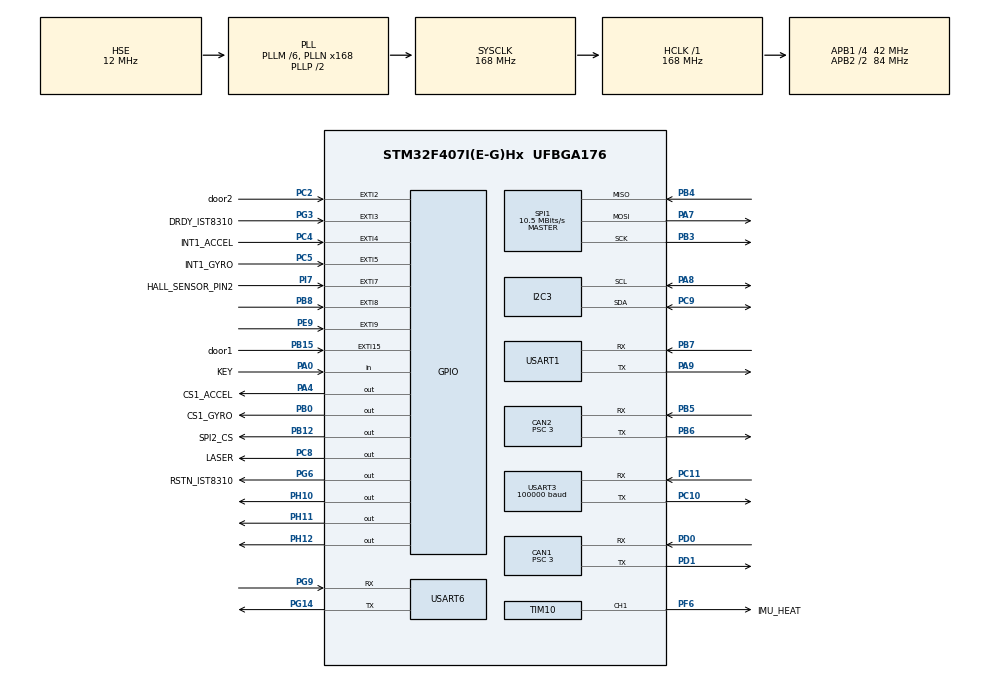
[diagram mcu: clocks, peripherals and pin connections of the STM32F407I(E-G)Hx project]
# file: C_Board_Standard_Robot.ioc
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CAN1.BS1=CAN_BS1_10TQ
CAN1.BS2=CAN_BS2_3TQ
CAN1.CalculateBaudRate=1000000
CAN1.CalculateTimeBit=1000
CAN1.CalculateTimeQuantum=71.42857142857143
CAN1.Prescaler=3
CAN2.BS1=CAN_BS1_10TQ
CAN2.BS2=CAN_BS2_3TQ
CAN2.CalculateBaudRate=1000000
CAN2.CalculateTimeBit=1000
CAN2.CalculateTimeQuantum=71.42857142857143
CAN2.Prescaler=3
Dma.Request0=SPI1_RX
Dma.Request1=SPI1_TX
Dma.Request2=USART1_RX
Dma.Request3=USART1_TX
Dma.Request4=USART3_RX
Dma.Request5=USART3_TX
Dma.Request6=USART6_RX
Dma.Request7=USART6_TX
Dma.SPI1_RX.0.Direction=DMA_PERIPH_TO_MEMORY
Dma.SPI1_RX.0.FIFOMode=DMA_FIFOMODE_DISABLE
Dma.SPI1_RX.0.Instance=DMA2_Stream0
Dma.SPI1_RX.0.MemDataAlignment=DMA_MDATAALIGN_BYTE
Dma.SPI1_RX.0.MemInc=DMA_MINC_ENABLE
Dma.SPI1_RX.0.Mode=DMA_NORMAL
Dma.SPI1_RX.0.PeriphDataAlignment=DMA_PDATAALIGN_BYTE
Dma.SPI1_RX.0.PeriphInc=DMA_PINC_DISABLE
Dma.SPI1_RX.0.Priority=DMA_PRIORITY_VERY_HIGH
Dma.SPI1_TX.1.Direction=DMA_MEMORY_TO_PERIPH
Dma.SPI1_TX.1.FIFOMode=DMA_FIFOMODE_DISABLE
Dma.SPI1_TX.1.Instance=DMA2_Stream3
Dma.SPI1_TX.1.MemDataAlignment=DMA_MDATAALIGN_BYTE
Dma.SPI1_TX.1.MemInc=DMA_MINC_ENABLE
Dma.SPI1_TX.1.Mode=DMA_NORMAL
Dma.SPI1_TX.1.PeriphDataAlignment=DMA_PDATAALIGN_BYTE
Dma.SPI1_TX.1.PeriphInc=DMA_PINC_DISABLE
Dma.SPI1_TX.1.Priority=DMA_PRIORITY_HIGH
Dma.USART1_RX.2.Direction=DMA_PERIPH_TO_MEMORY
Dma.USART1_RX.2.FIFOMode=DMA_FIFOMODE_DISABLE
Dma.USART1_RX.2.Instance=DMA2_Stream2
Dma.USART1_RX.2.MemDataAlignment=DMA_MDATAALIGN_BYTE
Dma.USART1_RX.2.MemInc=DMA_MINC_ENABLE
Dma.USART1_RX.2.Mode=DMA_NORMAL
Dma.USART1_RX.2.PeriphDataAlignment=DMA_PDATAALIGN_BYTE
Dma.USART1_RX.2.PeriphInc=DMA_PINC_DISABLE
Dma.USART1_RX.2.Priority=DMA_PRIORITY_VERY_HIGH
Dma.USART1_TX.3.Direction=DMA_MEMORY_TO_PERIPH
Dma.USART1_TX.3.FIFOMode=DMA_FIFOMODE_DISABLE
Dma.USART1_TX.3.Instance=DMA2_Stream7
Dma.USART1_TX.3.MemDataAlignment=DMA_MDATAALIGN_BYTE
Dma.USART1_TX.3.MemInc=DMA_MINC_ENABLE
Dma.USART1_TX.3.Mode=DMA_NORMAL
Dma.USART1_TX.3.PeriphDataAlignment=DMA_PDATAALIGN_BYTE
Dma.USART1_TX.3.PeriphInc=DMA_PINC_DISABLE
Dma.USART1_TX.3.Priority=DMA_PRIORITY_VERY_HIGH
Dma.USART3_RX.4.Direction=DMA_PERIPH_TO_MEMORY
Dma.USART3_RX.4.FIFOMode=DMA_FIFOMODE_DISABLE
Dma.USART3_RX.4.Instance=DMA1_Stream1
Dma.USART3_RX.4.MemDataAlignment=DMA_MDATAALIGN_BYTE
Dma.USART3_RX.4.MemInc=DMA_MINC_ENABLE
Dma.USART3_RX.4.Mode=DMA_NORMAL
Dma.USART3_RX.4.PeriphDataAlignment=DMA_PDATAALIGN_BYTE
Dma.USART3_RX.4.PeriphInc=DMA_PINC_DISABLE
Dma.USART3_RX.4.Priority=DMA_PRIORITY_VERY_HIGH
Dma.USART3_TX.5.Direction=DMA_MEMORY_TO_PERIPH
Dma.USART3_TX.5.FIFOMode=DMA_FIFOMODE_DISABLE
Dma.USART3_TX.5.Instance=DMA1_Stream3
Dma.USART3_TX.5.MemDataAlignment=DMA_MDATAALIGN_BYTE
Dma.USART3_TX.5.MemInc=DMA_MINC_ENABLE
Dma.USART3_TX.5.Mode=DMA_NORMAL
Dma.USART3_TX.5.PeriphDataAlignment=DMA_PDATAALIGN_BYTE
Dma.USART3_TX.5.PeriphInc=DMA_PINC_DISABLE
Dma.USART3_TX.5.Priority=DMA_PRIORITY_VERY_HIGH
Dma.USART6_RX.6.Direction=DMA_PERIPH_TO_MEMORY
Dma.USART6_RX.6.FIFOMode=DMA_FIFOMODE_DISABLE
Dma.USART6_RX.6.Instance=DMA2_Stream1
Dma.USART6_RX.6.MemDataAlignment=DMA_MDATAALIGN_BYTE
Dma.USART6_RX.6.MemInc=DMA_MINC_ENABLE
Dma.USART6_RX.6.Mode=DMA_NORMAL
Dma.USART6_RX.6.PeriphDataAlignment=DMA_PDATAALIGN_BYTE
Dma.USART6_RX.6.PeriphInc=DMA_PINC_DISABLE
Dma.USART6_RX.6.Priority=DMA_PRIORITY_VERY_HIGH
Dma.USART6_TX.7.Direction=DMA_MEMORY_TO_PERIPH
Dma.USART6_TX.7.FIFOMode=DMA_FIFOMODE_DISABLE
Dma.USART6_TX.7.Instance=DMA2_Stream6
Dma.USART6_TX.7.MemDataAlignment=DMA_MDATAALIGN_BYTE
Dma.USART6_TX.7.MemInc=DMA_MINC_ENABLE
Dma.USART6_TX.7.Mode=DMA_NORMAL
Dma.USART6_TX.7.PeriphDataAlignment=DMA_PDATAALIGN_BYTE
Dma.USART6_TX.7.PeriphInc=DMA_PINC_DISABLE
Dma.USART6_TX.7.Priority=DMA_PRIORITY_VERY_HIGH
FREERTOS.INCLUDE_eTaskGetState=1
FREERTOS.INCLUDE_pcTaskGetTaskName=1
FREERTOS.INCLUDE_uxTaskGetStackHighWaterMark=1
FREERTOS.INCLUDE_vTaskCleanUpResources=1
FREERTOS.INCLUDE_vTaskDelayUntil=1
FREERTOS.INCLUDE_xEventGroupSetBitFromISR=1
FREERTOS.INCLUDE_xQueueGetMutexHolder=1
FREERTOS.INCLUDE_xSemaphoreGetMutexHolder=1
FREERTOS.INCLUDE_xTaskAbortDelay=1
FREERTOS.INCLUDE_xTaskGetCurrentTaskHandle=1
FREERTOS.INCLUDE_xTaskGetHandle=1
FREERTOS.INCLUDE_xTimerPendFunctionCall=1
FREERTOS.Tasks01=INSTask,0,1024,StartINSTask,Default,NULL,Dynamic,NULL,NULL;ChassisTask,2,256,Chassis_task,As weak,NULL,Dynamic,NULL,NULL;ShootTask,2,128,Shoot_task,As weak,NULL,Dynamic,NULL,NULL
FREERTOS.configTOTAL_HEAP_SIZE=24576
I2C3.I2C_Mode=I2C_Fast
Mcu.Family=STM32F4
Mcu.Name=STM32F407I(E-G)Hx
Mcu.Package=UFBGA176
NVIC.CAN1_RX0_IRQn=true\:5\:0\:false\:false\:true\:true\:true\:true\:true
NVIC.CAN1_TX_IRQn=true\:5\:0\:false\:false\:true\:true\:true\:true\:true
NVIC.CAN2_RX0_IRQn=true\:5\:0\:false\:false\:true\:true\:true\:true\:true
NVIC.CAN2_TX_IRQn=true\:5\:0\:false\:false\:true\:true\:true\:true\:true
NVIC.DMA1_Stream1_IRQn=true\:5\:0\:false\:false\:true\:true\:false\:true\:true
NVIC.DMA1_Stream3_IRQn=true\:5\:0\:false\:false\:true\:true\:false\:true\:true
NVIC.DMA2_Stream0_IRQn=true\:5\:0\:false\:false\:true\:true\:false\:true\:true
NVIC.DMA2_Stream1_IRQn=true\:5\:0\:false\:false\:true\:true\:false\:true\:true
NVIC.DMA2_Stream2_IRQn=true\:5\:0\:true\:false\:false\:true\:false\:true\:true
NVIC.DMA2_Stream3_IRQn=true\:5\:0\:true\:false\:false\:true\:false\:true\:true
NVIC.DMA2_Stream6_IRQn=true\:5\:0\:false\:false\:true\:true\:false\:true\:true
NVIC.DMA2_Stream7_IRQn=true\:5\:0\:false\:false\:true\:true\:false\:true\:true
NVIC.EXTI15_10_IRQn=true\:5\:0\:false\:false\:true\:true\:true\:true\:true
NVIC.EXTI2_IRQn=true\:5\:0\:false\:false\:true\:true\:true\:true\:true
NVIC.EXTI3_IRQn=true\:5\:0\:true\:false\:true\:true\:true\:true\:true
NVIC.EXTI4_IRQn=true\:5\:0\:true\:false\:true\:true\:true\:true\:true
NVIC.EXTI9_5_IRQn=true\:5\:0\:true\:false\:true\:true\:true\:true\:true
NVIC.PriorityGroup=NVIC_PRIORITYGROUP_4
NVIC.SPI1_IRQn=true\:5\:0\:false\:false\:true\:true\:true\:true\:true
NVIC.TIM1_BRK_TIM9_IRQn=true\:5\:0\:false\:false\:true\:true\:true\:true\:true
NVIC.TIM1_UP_TIM10_IRQn=true\:5\:0\:false\:false\:true\:true\:true\:true\:true
NVIC.TIM3_IRQn=true\:15\:0\:false\:false\:true\:false\:false\:true\:true
NVIC.TIM6_DAC_IRQn=true\:5\:0\:false\:false\:true\:true\:true\:true\:true
NVIC.TIM8_BRK_TIM12_IRQn=true\:5\:0\:false\:false\:true\:true\:true\:true\:true
NVIC.TIM8_UP_TIM13_IRQn=true\:5\:0\:false\:false\:true\:true\:true\:true\:true
NVIC.TimeBase=TIM3_IRQn
NVIC.TimeBaseIP=TIM3
NVIC.USART1_IRQn=true\:5\:0\:false\:false\:true\:true\:true\:true\:true
NVIC.USART3_IRQn=true\:5\:0\:false\:false\:true\:true\:true\:true\:true
NVIC.USART6_IRQn=true\:5\:0\:false\:false\:true\:true\:true\:true\:true
PA0-WKUP.GPIO_Label=KEY
PA0-WKUP.GPIO_PuPd=GPIO_PULLUP
PA0-WKUP.Signal=GPIO_Input
PA13.Mode=Serial_Wire
PA13.Signal=SYS_JTMS-SWDIO
PA14.Mode=Serial_Wire
PA14.Signal=SYS_JTCK-SWCLK
PA4.GPIO_Label=CS1_ACCEL
PA4.GPIO_PuPd=GPIO_PULLUP
PA4.GPIO_Speed=GPIO_SPEED_FREQ_HIGH
PA4.PinState=GPIO_PIN_SET
PA4.Signal=GPIO_Output
PA7.GPIO_PuPd=GPIO_PULLUP
PA7.Mode=Full_Duplex_Master
PA7.Signal=SPI1_MOSI
PA8.Mode=I2C
PA8.Signal=I2C3_SCL
PA9.Mode=Asynchronous
PA9.Signal=USART1_TX
PB0.GPIO_Label=CS1_GYRO
PB0.GPIO_PuPd=GPIO_PULLUP
PB0.GPIO_Speed=GPIO_SPEED_FREQ_HIGH
PB0.PinState=GPIO_PIN_SET
PB0.Signal=GPIO_Output
PB12.GPIO_Label=SPI2_CS
PB12.GPIO_PuPd=GPIO_PULLUP
PB12.GPIO_Speed=GPIO_SPEED_FREQ_MEDIUM
PB12.PinState=GPIO_PIN_SET
PB12.Signal=GPIO_Output
PB15.GPIO_Label=door1
PB15.GPIO_PuPd=GPIO_PULLDOWN
PB15.Signal=GPXTI15
PB3.GPIO_PuPd=GPIO_PULLUP
PB3.Mode=Full_Duplex_Master
PB3.Signal=SPI1_SCK
PB4.GPIO_PuPd=GPIO_PULLUP
PB4.Mode=Full_Duplex_Master
PB4.Signal=SPI1_MISO
PB5.Mode=CAN_Activate
PB5.Signal=CAN2_RX
PB6.Mode=CAN_Activate
PB6.Signal=CAN2_TX
PB7.Mode=Asynchronous
PB7.Signal=USART1_RX
PB8.Signal=GPXTI8
PC10.Mode=Asynchronous
PC10.Signal=USART3_TX
PC11.Mode=Asynchronous
PC11.Signal=USART3_RX
PC2.GPIO_Label=door2
PC2.GPIO_ModeDefaultEXTI=GPIO_MODE_IT_RISING
PC2.GPIO_PuPd=GPIO_PULLDOWN
PC2.Signal=GPXTI2
PC4.GPIO_Label=INT1_ACCEL
PC4.GPIO_ModeDefaultEXTI=GPIO_MODE_IT_FALLING
PC4.GPIO_PuPd=GPIO_PULLUP
PC4.Signal=GPXTI4
PC5.GPIO_Label=INT1_GYRO
PC5.GPIO_ModeDefaultEXTI=GPIO_MODE_IT_FALLING
PC5.GPIO_PuPd=GPIO_PULLUP
PC5.Signal=GPXTI5
PC8.GPIO_Label=LASER
PC8.Signal=GPIO_Output
PC9.Mode=I2C
PC9.Signal=I2C3_SDA
PD0.Mode=CAN_Activate
PD0.Signal=CAN1_RX
PD1.Mode=CAN_Activate
PD1.Signal=CAN1_TX
PE9.GPIO_PuPd=GPIO_PULLUP
PE9.Signal=GPXTI9
PF6.GPIO_Label=IMU_HEAT
PF6.GPIO_PuPd=GPIO_PULLUP
PF6.GPIO_Speed=GPIO_SPEED_FREQ_HIGH
PF6.Signal=S_TIM10_CH1
PG14.Mode=Asynchronous
PG14.Signal=USART6_TX
PG3.GPIO_Label=DRDY_IST8310
PG3.GPIO_ModeDefaultEXTI=GPIO_MODE_IT_FALLING
PG3.GPIO_PuPd=GPIO_PULLUP
PG3.Signal=GPXTI3
PG6.GPIO_Label=RSTN_IST8310
PG6.GPIO_PuPd=GPIO_PULLUP
PG6.GPIO_Speed=GPIO_SPEED_FREQ_MEDIUM
PG6.PinState=GPIO_PIN_SET
PG6.Signal=GPIO_Output
PG9.Mode=Asynchronous
PG9.Signal=USART6_RX
PH0-OSC_IN.Mode=HSE-External-Oscillator
PH0-OSC_IN.Signal=RCC_OSC_IN
PH1-OSC_OUT.Mode=HSE-External-Oscillator
PH1-OSC_OUT.Signal=RCC_OSC_OUT
PH10.GPIO_PuPd=GPIO_PULLUP
PH10.Signal=GPIO_Output
PH11.GPIO_PuPd=GPIO_PULLUP
PH11.Signal=GPIO_Output
PH12.GPIO_PuPd=GPIO_PULLUP
PH12.Signal=GPIO_Output
PI7.GPIO_Label=HALL_SENSOR_PIN2
PI7.Signal=GPXTI7
ProjectManager.HeapSize=0x2000
ProjectManager.StackSize=0x2000
ProjectManager.TargetToolchain=MDK-ARM V5.32
RCC.48MHZClocksFreq_Value=48000000
RCC.AHBFreq_Value=168000000
RCC.APB1CLKDivider=RCC_HCLK_DIV4
RCC.APB1Freq_Value=42000000
RCC.APB1TimFreq_Value=84000000
RCC.APB2CLKDivider=RCC_HCLK_DIV2
RCC.APB2Freq_Value=84000000
RCC.APB2TimFreq_Value=168000000
RCC.CortexFreq_Value=168000000
RCC.HCLKFreq_Value=168000000
RCC.HSE_VALUE=12000000
RCC.HSI_VALUE=16000000
RCC.LSE_VALUE=32768
RCC.PLLM=6
RCC.PLLN=168
RCC.PLLQ=7
RCC.PLLSourceVirtual=RCC_PLLSOURCE_HSE
RCC.RCC_RTC_Clock_SourceVirtual=RCC_RTCCLKSOURCE_HSE_DIV30
RCC.RCC_RTC_Clock_Source_FROM_HSE=RCC_RTCCLKSOURCE_HSE_DIV30
RCC.SYSCLKFreq_VALUE=168000000
RCC.SYSCLKSource=RCC_SYSCLKSOURCE_PLLCLK
RCC.VCOOutputFreq_Value=336000000
SH.S_TIM10_CH1.0=TIM10_CH1,PWM Generation1 CH1
SPI1.BaudRatePrescaler=SPI_BAUDRATEPRESCALER_8
SPI1.CLKPhase=SPI_PHASE_2EDGE
SPI1.CLKPolarity=SPI_POLARITY_HIGH
SPI1.CalculateBaudRate=10.5 MBits/s
SPI1.Direction=SPI_DIRECTION_2LINES
SPI1.Mode=SPI_MODE_MASTER
SPI1.VirtualType=VM_MASTER
TIM1.Period=10000-1
TIM1.Prescaler=16800-1
TIM10.Channel=TIM_CHANNEL_1
TIM10.Period=2000-1
TIM10.Prescaler=84-1
TIM2.Period=100-1
TIM2.Prescaler=8400
TIM6.AutoReloadPreload=TIM_AUTORELOAD_PRELOAD_DISABLE
TIM6.Period=10000
TIM6.Prescaler=168-1
TIM9.Period=100-1
TIM9.Prescaler=16800-1
USART1.VirtualMode=VM_ASYNC
USART3.BaudRate=100000
USART3.VirtualMode=VM_ASYNC
USART6.VirtualMode=VM_ASYNC
VP_FREERTOS_VS_CMSIS_V1.Mode=CMSIS_V1
VP_SYS_VS_tim3.Mode=TIM3
VP_TIM10_VS_ClockSourceINT.Mode=Enable_Timer
VP_TIM1_VS_ClockSourceINT.Mode=Internal
VP_TIM2_VS_ClockSourceINT.Mode=Internal
VP_TIM4_VS_ClockSourceINT.Mode=Internal
VP_TIM6_VS_ClockSourceINT.Mode=Enable_Timer
VP_TIM8_VS_ClockSourceINT.Mode=Internal
VP_TIM9_VS_ClockSourceINT.Mode=Internal
board=custom

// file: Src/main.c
/* USER CODE BEGIN Header */
/**
 ******************************************************************************
 * @file           : main.c
 * @brief          : Main program body
 ******************************************************************************
 * @attention
 *
 * Copyright (c) 2023 STMicroelectronics.
 * All rights reserved.
 *
 * This software is licensed under terms that can be found in the LICENSE file
 * in the root directory of this software component.
 * If no LICENSE file comes with this software, it is provided AS-IS.
 *
 ******************************************************************************
 */
/* USER CODE END Header */
#include "main.h"
#include "cmsis_os.h"
#include "can.h"
#include "dma.h"
#include "i2c.h"
#include "spi.h"
#include "tim.h"
#include "usart.h"
#include "gpio.h"

/* USER CODE BEGIN Includes */
#include "INS_task.h"
#include "drv_can.h"
#include "drv_usart.h"
/* USER CODE END Includes */

void SystemClock_Config(void);
void MX_FREERTOS_Init(void);

/* USER CODE BEGIN 0 */
// ȫ�ֱ���
uint16_t can_cnt_2;
float target_speed[7] = {0};                 // ʵ��������ת��320rpm
float target_speed_can_2[7] = {0};           // ʵ��������ת��320rpm
moto_info_t motor_info[MOTOR_MAX_NUM];       // ��������7���ֽ�
moto_info_t motor_info_can_2[MOTOR_MAX_NUM]; // ��������7���ֽ�

uint8_t can_flag = 0;
double step = 9158 / 660;
double r;
double target_v;
int16_t target_int1;
int16_t target_int2; // ���ڵ�����ת��ֱ��
double target_curl;
float yuntai_step = 60 * (1024 - 364);

// ����
float time = 100;   // ʱ��
float time_count;   // ʱ������?
uint8_t flag_shoot; // ��־λ
float round_shoot;  // ת��Ȧ��
float down;
float up;

// Yaw��
int16_t target_angle = 4096;
int16_t err_angle;
int16_t max_yaw_speed;
float small;
float angle_limit = 8191; // ת�ǵ�����?

uint8_t rx_data[8];

extern int flag;
extern uint8_t rx_buffer[128];
/* USER CODE END 0 */

int main(void)
{

  /* MCU Configuration--------------------------------------------------------*/

  /* Reset of all peripherals, Initializes the Flash interface and the Systick. */
  HAL_Init();

  /* Configure the system clock */
  SystemClock_Config();

  /* Initialize all configured peripherals */
  MX_GPIO_Init();
  MX_DMA_Init();
  MX_SPI1_Init();
  MX_TIM10_Init();
  MX_CAN1_Init();
  MX_CAN2_Init();
  MX_I2C3_Init();
  MX_TIM1_Init();
  MX_TIM2_Init();
  MX_TIM8_Init();
  MX_TIM9_Init();
  MX_USART1_UART_Init();
  MX_USART3_UART_Init();
  MX_USART6_UART_Init();
  MX_TIM4_Init();
  MX_TIM6_Init();
  /* USER CODE BEGIN 2 */
  HAL_TIM_PWM_Start(&htim10, TIM_CHANNEL_1);
  HAL_NVIC_SetPriority(TIM2_IRQn, 0, 0);
  //	HAL_NVIC_SetPriority(SysTick_IRQn,1,1);
  CAN1_Init();
  CAN2_Init();
  USART6_Init();
  USART3_Init();
  HAL_TIM_Base_Start_IT(&htim1);
  HAL_TIM_Base_Start_IT(&htim6); // 测试发弹速度
  // 开启USART1接收中断
  HAL_UART_Receive_IT(&huart1, (uint8_t *)rx_buffer, sizeof(rx_buffer));
  DWT_Init(168);
  while (BMI088_init(&hspi1, 1) != BMI088_NO_ERROR)
    ;
  /* USER CODE END 2 */

  /* Call init function for freertos objects (in freertos.c) */
  MX_FREERTOS_Init();

  /* Start scheduler */
  osKernelStart();

  /* We should never get here as control is now taken by the scheduler */
  /* Infinite loop */
  while (1)
  {

  }
}

void SystemClock_Config(void)
{
  RCC_OscInitTypeDef RCC_OscInitStruct = {0};
  RCC_ClkInitTypeDef RCC_ClkInitStruct = {0};

  /** Configure the main internal regulator output voltage
   */
  __HAL_RCC_PWR_CLK_ENABLE();
  __HAL_PWR_VOLTAGESCALING_CONFIG(PWR_REGULATOR_VOLTAGE_SCALE1);

  /** Initializes the RCC Oscillators according to the specified parameters
   * in the RCC_OscInitTypeDef structure.
   */
  RCC_OscInitStruct.OscillatorType = RCC_OSCILLATORTYPE_HSE;
  RCC_OscInitStruct.HSEState = RCC_HSE_ON;
  RCC_OscInitStruct.PLL.PLLState = RCC_PLL_ON;
  RCC_OscInitStruct.PLL.PLLSource = RCC_PLLSOURCE_HSE;
  RCC_OscInitStruct.PLL.PLLM = 6;
  RCC_OscInitStruct.PLL.PLLN = 168;
  RCC_OscInitStruct.PLL.PLLP = RCC_PLLP_DIV2;
  RCC_OscInitStruct.PLL.PLLQ = 7;
  if (HAL_RCC_OscConfig(&RCC_OscInitStruct) != HAL_OK)
  {
    Error_Handler();
  }

  /** Initializes the CPU, AHB and APB buses clocks
   */
  RCC_ClkInitStruct.ClockType = RCC_CLOCKTYPE_HCLK | RCC_CLOCKTYPE_SYSCLK | RCC_CLOCKTYPE_PCLK1 | RCC_CLOCKTYPE_PCLK2;
  RCC_ClkInitStruct.SYSCLKSource = RCC_SYSCLKSOURCE_PLLCLK;
  RCC_ClkInitStruct.AHBCLKDivider = RCC_SYSCLK_DIV1;
  RCC_ClkInitStruct.APB1CLKDivider = RCC_HCLK_DIV4;
  RCC_ClkInitStruct.APB2CLKDivider = RCC_HCLK_DIV2;

  if (HAL_RCC_ClockConfig(&RCC_ClkInitStruct, FLASH_LATENCY_5) != HAL_OK)
  {
    Error_Handler();
  }
}

void HAL_TIM_PeriodElapsedCallback(TIM_HandleTypeDef *htim)
{
  if (htim->Instance == TIM3)
  {
    HAL_IncTick();
  }
}

void Error_Handler(void)
{
  __disable_irq();
  while (1)
  {
  }
}

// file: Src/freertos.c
/* USER CODE BEGIN Header */
/**
 ******************************************************************************
 * File Name          : freertos.c
 * Description        : Code for freertos applications
 ******************************************************************************
 * @attention
 *
 * <h2><center>&copy; Copyright (c) 2021 STMicroelectronics.
 * All rights reserved.</center></h2>
 *
 * This software component is licensed by ST under Ultimate Liberty license
 * SLA0044, the "License"; You may not use this file except in compliance with
 * the License. You may obtain a copy of the License at:
 *                             www.st.com/SLA0044
 *
 ******************************************************************************
 */
/* USER CODE END Header */

#include "FreeRTOS.h"
#include "task.h"
#include "main.h"
#include "cmsis_os.h"

/* USER CODE BEGIN Includes */
#include "rc_potocal.h"
#include "arm_math.h"
#include "INS_task.h"
#include "exchange.h"
#include "Chassis_task.h"
#include "super_cap.h"
#include "UI_task.h"
#include "stm32f4xx_it.h"
/* USER CODE END Includes */

/* USER CODE BEGIN Variables */
// osThreadId Chassis_taskHandle;
osThreadId myTask02Handle;
osThreadId SupercapTaskHandle;
osThreadId UI_taskHandle;
/* USER CODE END Variables */
osThreadId INSTaskHandle;
osThreadId ChassisTaskHandle;
osThreadId ShootTaskHandle;

/* USER CODE BEGIN FunctionPrototypes */
void Supercap_task(void const *argument);
/* USER CODE END FunctionPrototypes */

void StartINSTask(void const *argument);
void Chassis_task(void const *argument);
void Shoot_task(void const *argument);

void MX_FREERTOS_Init(void); /* (MISRA C 2004 rule 8.1) */

/* GetIdleTaskMemory prototype (linked to static allocation support) */
void vApplicationGetIdleTaskMemory(StaticTask_t **ppxIdleTaskTCBBuffer, StackType_t **ppxIdleTaskStackBuffer, uint32_t *pulIdleTaskStackSize);

/* GetTimerTaskMemory prototype (linked to static allocation support) */
void vApplicationGetTimerTaskMemory(StaticTask_t **ppxTimerTaskTCBBuffer, StackType_t **ppxTimerTaskStackBuffer, uint32_t *pulTimerTaskStackSize);

/* USER CODE BEGIN GET_IDLE_TASK_MEMORY */
static StaticTask_t xIdleTaskTCBBuffer;
static StackType_t xIdleStack[configMINIMAL_STACK_SIZE];

void vApplicationGetIdleTaskMemory(StaticTask_t **ppxIdleTaskTCBBuffer, StackType_t **ppxIdleTaskStackBuffer, uint32_t *pulIdleTaskStackSize)
{
  *ppxIdleTaskTCBBuffer = &xIdleTaskTCBBuffer;
  *ppxIdleTaskStackBuffer = &xIdleStack[0];
  *pulIdleTaskStackSize = configMINIMAL_STACK_SIZE;
  /* place for user code */
}
/* USER CODE END GET_IDLE_TASK_MEMORY */

/* USER CODE BEGIN GET_TIMER_TASK_MEMORY */
static StaticTask_t xTimerTaskTCBBuffer;
static StackType_t xTimerStack[configTIMER_TASK_STACK_DEPTH];

void vApplicationGetTimerTaskMemory(StaticTask_t **ppxTimerTaskTCBBuffer, StackType_t **ppxTimerTaskStackBuffer, uint32_t *pulTimerTaskStackSize)
{
  *ppxTimerTaskTCBBuffer = &xTimerTaskTCBBuffer;
  *ppxTimerTaskStackBuffer = &xTimerStack[0];
  *pulTimerTaskStackSize = configTIMER_TASK_STACK_DEPTH;
  /* place for user code */
}
/* USER CODE END GET_TIMER_TASK_MEMORY */

void MX_FREERTOS_Init(void)
{

  /* Create the thread(s) */
  /* definition and creation of INSTask */
  osThreadDef(INSTask, StartINSTask, osPriorityNormal, 0, 1024);
  INSTaskHandle = osThreadCreate(osThread(INSTask), NULL);

  /* definition and creation of ChassisTask */
  osThreadDef(ChassisTask, Chassis_task, osPriorityHigh, 0, 256);
  ChassisTaskHandle = osThreadCreate(osThread(ChassisTask), NULL);

  /* definition and creation of ShootTask */
  osThreadDef(ShootTask, Shoot_task, osPriorityHigh, 0, 128);
  ShootTaskHandle = osThreadCreate(osThread(ShootTask), NULL);

  /* USER CODE BEGIN RTOS_THREADS */
  osThreadDef(SupercapTask, Supercap_task, osPriorityNormal, 0, 128);
  SupercapTaskHandle = osThreadCreate(osThread(SupercapTask), NULL);
  /* add threads, ... */
  /* USER CODE END RTOS_THREADS */
}

void StartINSTask(void const *argument)
{
  /* USER CODE BEGIN StartINSTask */
  INS_Init();
  /* Infinite loop */
  for (;;)
  {
    INS_Task();
    osDelay(1);
  }
  /* USER CODE END StartINSTask */
}

__weak void Chassis_task(void const *argument)
{
  for (;;)
  {
    osDelay(1);
  }
}

__weak void Shoot_task(void const *argument)
{
  for (;;)
  {
    osDelay(1);
  }
}

/* USER CODE BEGIN Application */
void StartDefaultTask(void const *argument)
{
  /* USER CODE BEGIN StartDefaultTask */
  HAL_GPIO_WritePin(GPIOH, GPIO_PIN_11, GPIO_PIN_SET);
  HAL_GPIO_WritePin(GPIOH, GPIO_PIN_10, GPIO_PIN_SET);
  uint8_t TIM1_flag = 1;
  /* Infinite loop */
  for (;;)
  {
    osDelay(1);
  }
  /* USER CODE END StartDefaultTask */
}
/* USER CODE END Application */
